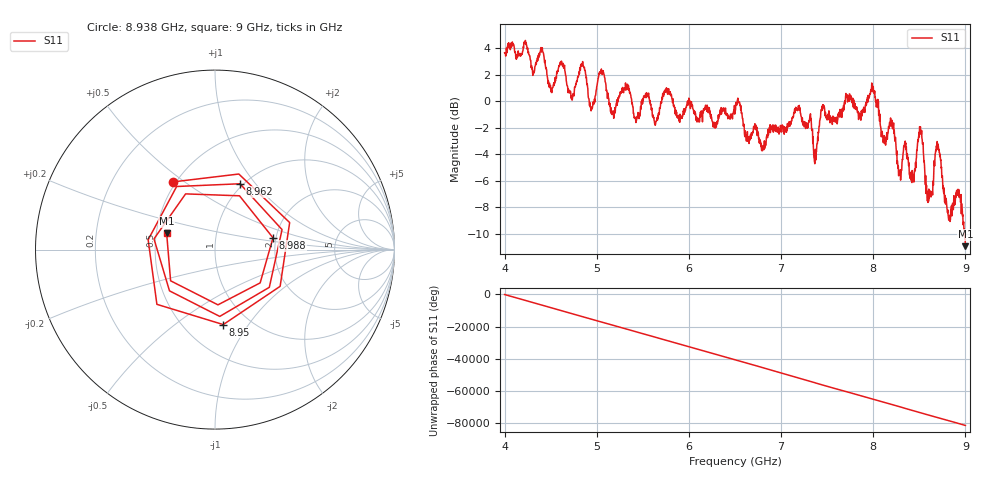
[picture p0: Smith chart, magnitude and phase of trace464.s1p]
! Created with skrf 1.8.0 (http://scikit-rf.org).
# Hz S RI R 50.0
!freq ReS11 ImS11
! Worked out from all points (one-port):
!   1601 points, 4 GHz to 9 GHz, reference 50 ohm
!   lowest |S11| = -10.9 dB at 9 GHz (marker M1), VSWR 1.79, Z = 28.4 + j5.6 ohm
!   |S11| at or under -10 dB: 8.990341 GHz to end of sweep
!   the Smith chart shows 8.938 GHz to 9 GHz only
!   S11 on the Smith chart (normalised r, x): 8.938 GHz: 0.48, +0.45; 8.95 GHz: 0.76, -0.77; 8.962 GHz: 0.97, +0.84; 8.988 GHz: 1.93, +0.28; 9 GHz: 0.57, +0.11
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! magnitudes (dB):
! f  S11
! 4 GHz  3.6
! 4.625 GHz  2.8
! 4.728 GHz  0.1
! 4.85 GHz  2.8
! 4.944 GHz  -0.5
! 5.05 GHz  2.4
! 5.166 GHz  -1.0
! 5.25 GHz  0.4
! 5.875 GHz  -1.1
! 6.5 GHz  -0.5
! 6.806 GHz  -3.3
! 7.125 GHz  -1.2
! 7.375 GHz  -4.0
! 7.447 GHz  -0.7
! 7.75 GHz  0.1
! 7.997 GHz  1.0
! 8.284 GHz  -5.4
! 8.375 GHz  -4.3
! 8.431 GHz  -5.7
! 8.516 GHz  -2.4
! 8.597 GHz  -6.8
! 8.7 GHz  -3.2
! 8.812 GHz  -8.5
! 8.938 GHz  -7.0
! 8.95 GHz  -7.5
! 8.962 GHz  -8.1
! 8.988 GHz  -9.6
! 9 GHz  -10.9
